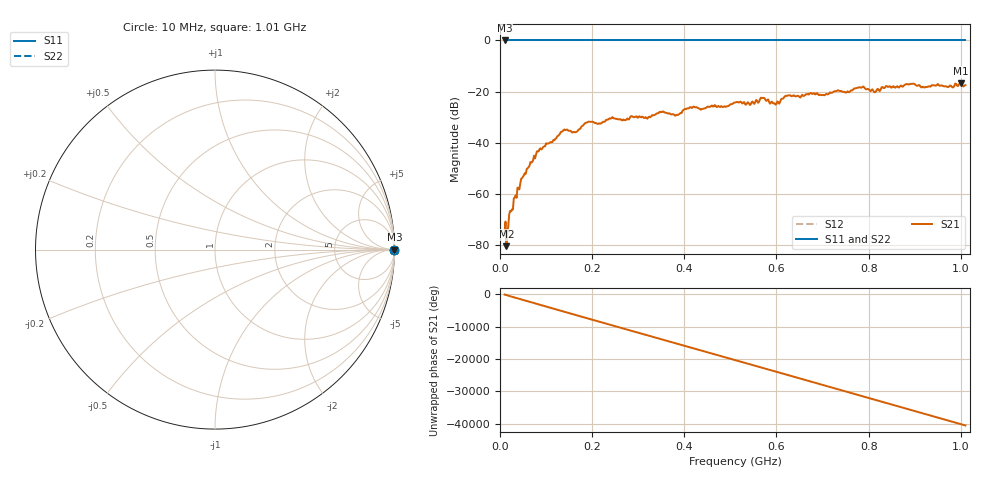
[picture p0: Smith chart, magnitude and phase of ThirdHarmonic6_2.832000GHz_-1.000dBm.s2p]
! 8/17/2025 7:33:35 AM
! C:\ANRITSUVNA\TEMP\TEMP.S2P
! CHANNEL.1
! TR.MEASUREMENT
! RAW.DATA
! RF.CORRECTION.OFF
! AVERAGING.OFF
! IF.BANDWIDTH: 5KHZ
! SWEEPTYPE:  FREQ.SWEEP(Linear)
! Reference Plane Port Info
! PORT:  PORT1  PORT2
! DISTANCE:  0  m  0  m
! TIME:  0  s  0  s
! PHASE.OFFSET:  0  deg.  0  deg.
! LOSS:  0  dB  0  dB
! REF.LOSS:  0  dB  0  dB
! REF.FREQ:  0  Hz  0  Hz
! Power Info
! POWER:  -20  dBm  -20  dBm
! EFF.POWER:  -20  dBm  -20  dBm
! SOURCE.ATTEN:  0  dB  0  dB
! TEST.ATTEN:  0  dB  0  dB
# GHZ S RI R 50.0
! FREQ.GHZ  S11RE  S11IM  S21RE  S21IM  S12RE  S12IM  S22RE  S22IM
!; PortSelection: Port_12
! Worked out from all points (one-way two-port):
!   501 points, 10 MHz to 1.01 GHz, reference 50 ohm
!   highest |S21| = -16.71 dB at 1 GHz (marker M1); lowest = -80.4 dB at 14 MHz (marker M2)
!   lowest |S11| = 0.0 dB at 10 MHz (marker M3)
!   |S11| at or under -10 dB: nowhere
!   |S22| runs from 0.0 to 0.0 dB; largest |S21 - S12| = 1.1
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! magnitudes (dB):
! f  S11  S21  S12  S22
! 10 MHz  0.0  -75.3  0.0  0.0
! 14 MHz  0.0  -80.4  0.0  0.0
! 24 MHz  0.0  -66.8  0.0  0.0
! 42 MHz  0.0  -58.2  0.0  0.0
! 82 MHz  0.0  -43.3  0.0  0.0
! 136 MHz  0.0  -35.5  0.0  0.0
! 162 MHz  0.0  -35.9  0.0  0.0
! 178 MHz  0.0  -33.5  0.0  0.0
! 344 MHz  0.0  -28.5  0.0  0.0
! 384 MHz  0.0  -29.0  0.0  0.0
! 416 MHz  0.0  -26.4  0.0  0.0
! 510 MHz  0.0  -24.3  0.0  0.0
! 546 MHz  0.0  -24.2  0.0  0.0
! 570 MHz  0.0  -22.4  0.0  0.0
! 596 MHz  0.0  -24.6  0.0  0.0
! 622 MHz  0.0  -21.7  0.0  0.0
! 678 MHz  0.0  -20.9  0.0  0.0
! 784 MHz  0.0  -18.5  0.0  0.0
! 814 MHz  0.0  -20.3  0.0  0.0
! 844 MHz  0.0  -18.0  0.0  0.0
! 1 GHz  0.0  -16.7  0.0  0.0
! 1.01 GHz  0.0  -17.5  0.0  0.0
